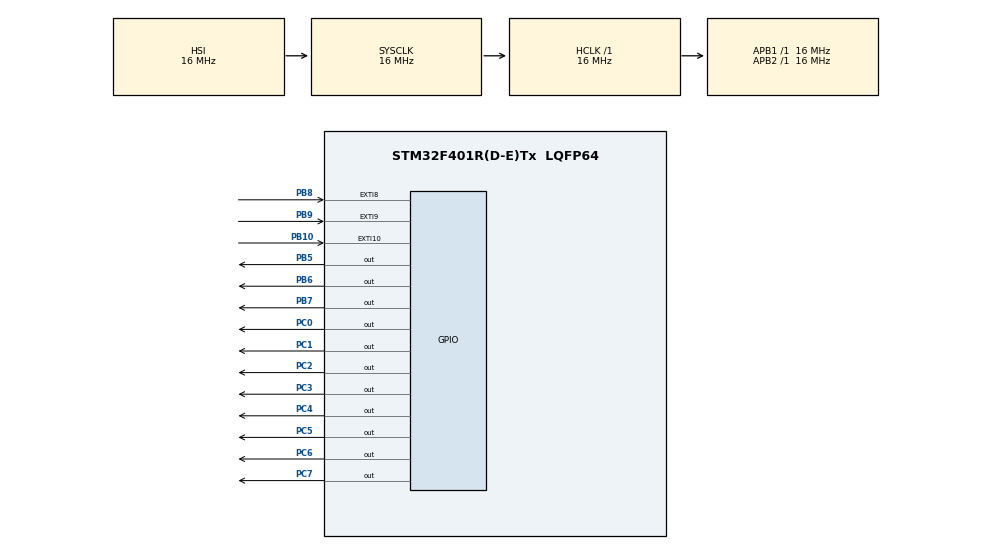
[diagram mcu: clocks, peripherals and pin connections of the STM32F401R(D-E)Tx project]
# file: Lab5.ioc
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Mcu.Family=STM32F4
VP_TIM5_VS_ClockSourceINT.Mode=Internal
RCC.CortexFreq_Value=16000000
PB10.GPIO_PuPd=GPIO_PULLUP
PB8.GPIO_PuPd=GPIO_PULLUP
PC4.Signal=GPIO_Output
PC2.Signal=GPIO_Output
PC6.Signal=GPIO_Output
PC0.Signal=GPIO_Output
TIM5.AutoReloadPreload=TIM_AUTORELOAD_PRELOAD_ENABLE
ProjectManager.StackSize=0x400
PB8.GPIO_ModeDefaultEXTI=GPIO_MODE_IT_FALLING
ProjectManager.TargetToolchain=MDK-ARM V5.27
PB6.Signal=GPIO_Output
PC7.Signal=GPIO_Output
PC3.Signal=GPIO_Output
PB9.GPIO_ModeDefaultEXTI=GPIO_MODE_IT_FALLING
RCC.LSE_VALUE=32768
RCC.AHBFreq_Value=16000000
PB10.Signal=GPXTI10
NVIC.EXTI15_10_IRQn=true\:0\:0\:false\:false\:true\:true\:true
RCC.HSE_VALUE=25000000
board=custom
RCC.VCOOutputFreq_Value=192000000
RCC.APB2Freq_Value=16000000
VP_TIM2_VS_ClockSourceINT.Mode=Internal
NVIC.TIM2_IRQn=true\:0\:0\:false\:false\:true\:true\:true
PB7.Signal=GPIO_Output
TIM2.Period=10
PB10.GPIO_ModeDefaultEXTI=GPIO_MODE_IT_RISING_FALLING
Mcu.Name=STM32F401R(D-E)Tx
RCC.SYSCLKFreq_VALUE=16000000
Mcu.Package=LQFP64
PB5.Signal=GPIO_Output
PB9.Signal=GPXTI9
TIM2.Prescaler=1600
TIM5.Prescaler=16000
NVIC.EXTI9_5_IRQn=true\:0\:0\:false\:false\:true\:true\:true
PB9.GPIO_PuPd=GPIO_PULLUP
ProjectManager.HeapSize=0x200
RCC.HSI_VALUE=16000000
NVIC.PriorityGroup=NVIC_PRIORITYGROUP_4
PB8.Signal=GPXTI8
TIM2.AutoReloadPreload=TIM_AUTORELOAD_PRELOAD_ENABLE
TIM5.Period=20000
PC5.Signal=GPIO_Output
RCC.APB1Freq_Value=16000000
PC1.Signal=GPIO_Output

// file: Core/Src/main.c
/* USER CODE BEGIN Header */
/**
  ******************************************************************************
  * @file           : main.c
  * @brief          : Main program body
  ******************************************************************************
  * @attention
  *
  * <h2><center>&copy; Copyright (c) 2022 STMicroelectronics.
  * All rights reserved.</center></h2>
  *
  * This software component is licensed by ST under BSD 3-Clause license,
  * the "License"; You may not use this file except in compliance with the
  * License. You may obtain a copy of the License at:
  *                        opensource.org/licenses/BSD-3-Clause
  *
  ******************************************************************************
  */
/* USER CODE END Header */
#include "main.h"
#include <stdio.h>

/* USER CODE BEGIN PD */
#define RS 0x20 /* PB5 mask for reg select */
#define RW 0x40 /* PB6 mask for read/write */
#define EN 0x80 /* PB7 mask for enable */
/* USER CODE END PD */

TIM_HandleTypeDef htim2;
TIM_HandleTypeDef htim5;

/* USER CODE BEGIN PV */
enum state
{
	stopped,
	counting,
	paused,
	off
};
static enum state chronometer_state = stopped;

static int MM = 0, SS = 0, MMM = 0, first, second, is_falling = 0;
/* USER CODE END PV */

void SystemClock_Config(void);
static void MX_GPIO_Init(void);
static void MX_TIM2_Init(void);
static void MX_TIM5_Init(void);
/* USER CODE BEGIN PFP */
void delayMs(int n);
void LCD_command(unsigned char command);
void LCD_data(char data);
void LCD_init(void);
void show_time(void);
void turn_off(void);
void HAL_GPIO_EXTI_Callback(uint16_t GPIO_Pin);
/* USER CODE END PFP */

int main(void)
{

  /* MCU Configuration--------------------------------------------------------*/

  /* Reset of all peripherals, Initializes the Flash interface and the Systick. */
  HAL_Init();

  /* Configure the system clock */
  SystemClock_Config();

  /* Initialize all configured peripherals */
  MX_GPIO_Init();
  MX_TIM2_Init();
  MX_TIM5_Init();
  /* USER CODE BEGIN 2 */
	HAL_TIM_Base_Start(&htim5);
	LCD_init();
	LCD_data('W');
	LCD_data('e');
	LCD_data('l');
	LCD_data('c');
	LCD_data('o');
	LCD_data('m');
	LCD_data('e');
  /* USER CODE END 2 */

  /* Infinite loop */
  /* USER CODE BEGIN WHILE */
 while (1)
	{
		if (chronometer_state == counting)
		{
			show_time();
			delayMs(75);
		}
		else if (chronometer_state == off)
		{
			break;
		}
	}
	while (1)
	{
		LCD_data('t');
		LCD_data('u');
		LCD_data('r');
		LCD_data('n');
		LCD_data(' ');
		LCD_data('o');
		LCD_data('f');
		LCD_data('f');
		delayMs(500);
		LCD_command(1);
		delayMs(500);
	}
  /* USER CODE END 3 */
}

void SystemClock_Config(void)
{
  RCC_OscInitTypeDef RCC_OscInitStruct = {0};
  RCC_ClkInitTypeDef RCC_ClkInitStruct = {0};

  /** Configure the main internal regulator output voltage
  */
  __HAL_RCC_PWR_CLK_ENABLE();
  __HAL_PWR_VOLTAGESCALING_CONFIG(PWR_REGULATOR_VOLTAGE_SCALE2);
  /** Initializes the RCC Oscillators according to the specified parameters
  * in the RCC_OscInitTypeDef structure.
  */
  RCC_OscInitStruct.OscillatorType = RCC_OSCILLATORTYPE_HSI;
  RCC_OscInitStruct.HSIState = RCC_HSI_ON;
  RCC_OscInitStruct.HSICalibrationValue = RCC_HSICALIBRATION_DEFAULT;
  RCC_OscInitStruct.PLL.PLLState = RCC_PLL_NONE;
  if (HAL_RCC_OscConfig(&RCC_OscInitStruct) != HAL_OK)
  {
    Error_Handler();
  }
  /** Initializes the CPU, AHB and APB buses clocks
  */
  RCC_ClkInitStruct.ClockType = RCC_CLOCKTYPE_HCLK|RCC_CLOCKTYPE_SYSCLK
                              |RCC_CLOCKTYPE_PCLK1|RCC_CLOCKTYPE_PCLK2;
  RCC_ClkInitStruct.SYSCLKSource = RCC_SYSCLKSOURCE_HSI;
  RCC_ClkInitStruct.AHBCLKDivider = RCC_SYSCLK_DIV1;
  RCC_ClkInitStruct.APB1CLKDivider = RCC_HCLK_DIV1;
  RCC_ClkInitStruct.APB2CLKDivider = RCC_HCLK_DIV1;

  if (HAL_RCC_ClockConfig(&RCC_ClkInitStruct, FLASH_LATENCY_0) != HAL_OK)
  {
    Error_Handler();
  }
}

static void MX_TIM2_Init(void)
{

  TIM_ClockConfigTypeDef sClockSourceConfig = {0};
  TIM_MasterConfigTypeDef sMasterConfig = {0};

  htim2.Instance = TIM2;
  htim2.Init.Prescaler = 280;
  htim2.Init.CounterMode = TIM_COUNTERMODE_UP;
  htim2.Init.Period = 10;
  htim2.Init.ClockDivision = TIM_CLOCKDIVISION_DIV1;
  htim2.Init.AutoReloadPreload = TIM_AUTORELOAD_PRELOAD_ENABLE;
  if (HAL_TIM_Base_Init(&htim2) != HAL_OK)
  {
    Error_Handler();
  }
  sClockSourceConfig.ClockSource = TIM_CLOCKSOURCE_INTERNAL;
  if (HAL_TIM_ConfigClockSource(&htim2, &sClockSourceConfig) != HAL_OK)
  {
    Error_Handler();
  }
  sMasterConfig.MasterOutputTrigger = TIM_TRGO_RESET;
  sMasterConfig.MasterSlaveMode = TIM_MASTERSLAVEMODE_DISABLE;
  if (HAL_TIMEx_MasterConfigSynchronization(&htim2, &sMasterConfig) != HAL_OK)
  {
    Error_Handler();
  }

}

static void MX_TIM5_Init(void)
{

  TIM_ClockConfigTypeDef sClockSourceConfig = {0};
  TIM_MasterConfigTypeDef sMasterConfig = {0};

  htim5.Instance = TIM5;
  htim5.Init.Prescaler = 16000;
  htim5.Init.CounterMode = TIM_COUNTERMODE_UP;
  htim5.Init.Period = 20000;
  htim5.Init.ClockDivision = TIM_CLOCKDIVISION_DIV1;
  htim5.Init.AutoReloadPreload = TIM_AUTORELOAD_PRELOAD_ENABLE;
  if (HAL_TIM_Base_Init(&htim5) != HAL_OK)
  {
    Error_Handler();
  }
  sClockSourceConfig.ClockSource = TIM_CLOCKSOURCE_INTERNAL;
  if (HAL_TIM_ConfigClockSource(&htim5, &sClockSourceConfig) != HAL_OK)
  {
    Error_Handler();
  }
  sMasterConfig.MasterOutputTrigger = TIM_TRGO_RESET;
  sMasterConfig.MasterSlaveMode = TIM_MASTERSLAVEMODE_DISABLE;
  if (HAL_TIMEx_MasterConfigSynchronization(&htim5, &sMasterConfig) != HAL_OK)
  {
    Error_Handler();
  }

}

static void MX_GPIO_Init(void)
{
  GPIO_InitTypeDef GPIO_InitStruct = {0};

  /* GPIO Ports Clock Enable */
  __HAL_RCC_GPIOC_CLK_ENABLE();
  __HAL_RCC_GPIOB_CLK_ENABLE();

  /*Configure GPIO pin Output Level */
  HAL_GPIO_WritePin(GPIOC, GPIO_PIN_0|GPIO_PIN_1|GPIO_PIN_2|GPIO_PIN_3
                          |GPIO_PIN_4|GPIO_PIN_5|GPIO_PIN_6|GPIO_PIN_7, GPIO_PIN_RESET);

  /*Configure GPIO pin Output Level */
  HAL_GPIO_WritePin(GPIOB, GPIO_PIN_5|GPIO_PIN_6|GPIO_PIN_7, GPIO_PIN_RESET);

  /*Configure GPIO pins : PC0 PC1 PC2 PC3
                           PC4 PC5 PC6 PC7 */
  GPIO_InitStruct.Pin = GPIO_PIN_0|GPIO_PIN_1|GPIO_PIN_2|GPIO_PIN_3
                          |GPIO_PIN_4|GPIO_PIN_5|GPIO_PIN_6|GPIO_PIN_7;
  GPIO_InitStruct.Mode = GPIO_MODE_OUTPUT_PP;
  GPIO_InitStruct.Pull = GPIO_NOPULL;
  GPIO_InitStruct.Speed = GPIO_SPEED_FREQ_LOW;
  HAL_GPIO_Init(GPIOC, &GPIO_InitStruct);

  /*Configure GPIO pin : PB10 */
  GPIO_InitStruct.Pin = GPIO_PIN_10;
  GPIO_InitStruct.Mode = GPIO_MODE_IT_RISING_FALLING;
  GPIO_InitStruct.Pull = GPIO_PULLUP;
  HAL_GPIO_Init(GPIOB, &GPIO_InitStruct);

  /*Configure GPIO pins : PB5 PB6 PB7 */
  GPIO_InitStruct.Pin = GPIO_PIN_5|GPIO_PIN_6|GPIO_PIN_7;
  GPIO_InitStruct.Mode = GPIO_MODE_OUTPUT_PP;
  GPIO_InitStruct.Pull = GPIO_NOPULL;
  GPIO_InitStruct.Speed = GPIO_SPEED_FREQ_LOW;
  HAL_GPIO_Init(GPIOB, &GPIO_InitStruct);

  /*Configure GPIO pins : PB8 PB9 */
  GPIO_InitStruct.Pin = GPIO_PIN_8|GPIO_PIN_9;
  GPIO_InitStruct.Mode = GPIO_MODE_IT_FALLING;
  GPIO_InitStruct.Pull = GPIO_PULLUP;
  HAL_GPIO_Init(GPIOB, &GPIO_InitStruct);

  /* EXTI interrupt init*/
  HAL_NVIC_SetPriority(EXTI9_5_IRQn, 0, 0);
  HAL_NVIC_EnableIRQ(EXTI9_5_IRQn);

  HAL_NVIC_SetPriority(EXTI15_10_IRQn, 0, 0);
  HAL_NVIC_EnableIRQ(EXTI15_10_IRQn);

}

/* USER CODE BEGIN 4 */
void LCD_init(void)
{
	delayMs(30); /* initialization sequence */
	LCD_command(0x30);
	delayMs(10);
	LCD_command(0x30);
	delayMs(1);
	LCD_command(0x30);

	LCD_command(0x38); /* set 8-bit data, 2-line, 5x7 font */
	LCD_command(0x06); /* move cursor right after each char */
	LCD_command(0x01); /* clear screen, move cursor to home */
	LCD_command(0x0F); /* turn on display, cursor blinking */
}

void LCD_command(unsigned char command)
{
	//GPIOB->BSRR = (RS | RW) << 16; /* RS = 0, R/W = 0 */
	HAL_GPIO_WritePin(GPIOB, RS, GPIO_PIN_RESET);
	HAL_GPIO_WritePin(GPIOB, RW, GPIO_PIN_RESET);
	//GPIOC->ODR &= ~0x00FF;		   /* clear data bus */
	//GPIOC->ODR |= command;		   /* put command on data bus */
	for(uint16_t GPIO_Pin = GPIO_PIN_0; GPIO_Pin != GPIO_PIN_8; GPIO_Pin = GPIO_Pin << 1)
	{
		HAL_GPIO_WritePin(GPIOC, GPIO_Pin, command % 2);
		command = command >> 1;
	}
	HAL_GPIO_WritePin(GPIOB, EN, GPIO_PIN_SET);
	//GPIOB->BSRR = EN;			   /* pulse E high */
	delayMs(0);
	HAL_GPIO_WritePin(GPIOB, EN, GPIO_PIN_RESET);
	//GPIOB->BSRR = EN << 16; /* clear E */

	if (command < 4)
		delayMs(2); /* command 1 and 2 needs up to 1.64ms */
	else
		delayMs(1); /* all others 40 us */
}

void LCD_data(char data)
{
	//GPIOB->BSRR = RS;		/* RS = 1 */
	//GPIOB->BSRR = RW << 16; /* R/W = 0 */
	HAL_GPIO_WritePin(GPIOB, RS, GPIO_PIN_SET);
	HAL_GPIO_WritePin(GPIOB, RW, GPIO_PIN_RESET);
	//GPIOC->ODR &= ~0x00FF;	/* clear data bus */
	//GPIOC->ODR |= data;		/* put data on data bus */
	for(uint16_t GPIO_Pin = GPIO_PIN_0; GPIO_Pin != GPIO_PIN_8; GPIO_Pin = GPIO_Pin << 1)
	{
		HAL_GPIO_WritePin(GPIOC, GPIO_Pin, data % 2);
		data = data >> 1;
	}
	//GPIOB->BSRR = EN;		/* pulse E high */
	HAL_GPIO_WritePin(GPIOB, EN, GPIO_PIN_SET);
	delayMs(0);
	//GPIOB->BSRR = EN << 16; /* clear E */
	HAL_GPIO_WritePin(GPIOB, EN, GPIO_PIN_RESET);
	delayMs(1);
}

void show_time(void)
{
	LCD_command(1);
	char print[16];
	sprintf(print, "%.2d:%.2d:%.3d", MM, SS, MMM);
	for (int i = 0; i < 16 && print[i] != '\0'; i++)
		LCD_data(print[i]);
}

/* delay n milliseconds (16 MHz CPU clock) */
void delayMs(int n)
{
	int i;
	for (; n > 0; n--)
		for (i = 0; i < 3195; i++)
			__NOP();
}

void HAL_GPIO_EXTI_Callback(uint16_t GPIO_Pin)
{
	switch(GPIO_Pin)
	{
		case GPIO_PIN_8:
			chronometer_state = counting;
			HAL_TIM_Base_Start_IT(&htim2);
			break;
		case GPIO_PIN_9:
			chronometer_state = paused;
			HAL_TIM_Base_Stop_IT(&htim2);
			show_time();
			break;
		case GPIO_PIN_10:
			chronometer_state = stopped;
			HAL_TIM_Base_Stop_IT(&htim2);
			MMM = 0;
			SS = 0;
			MM = 0;
			show_time();
			if (is_falling == 0)
			{
				//first = TIM5->CNT;
				first = __HAL_TIM_GetCounter(&htim5);
				is_falling = 1;
			}
			else
			{
				is_falling = 0;
				//second = TIM5->CNT;
				second = __HAL_TIM_GetCounter(&htim5);
				if (second - first > 300)
				{
					//__disable_irq();
					HAL_NVIC_DisableIRQ(EXTI9_5_IRQn);
					HAL_NVIC_DisableIRQ(EXTI15_10_IRQn);
					HAL_TIM_Base_Stop_IT(&htim2);
					HAL_TIM_Base_Stop(&htim5);
					LCD_command(1);
					chronometer_state = off;
				}
			}
			break;
	}
}

void HAL_TIM_PeriodElapsedCallback(TIM_HandleTypeDef *htim)
{
	if (chronometer_state == counting)
	{
		MMM++;
		if (MMM > 999)
		{
			MMM = 0;
			SS++;
		}
		if (SS > 59)
		{
			SS = 0;
			MM++;
		}
		if (MM > 99)
		{
			MM = 0;
		}
	}
}
/* USER CODE END 4 */

void Error_Handler(void)
{
  __disable_irq();
  while (1)
  {
  }
}

/************************ (C) COPYRIGHT STMicroelectronics *****END OF FILE****/
